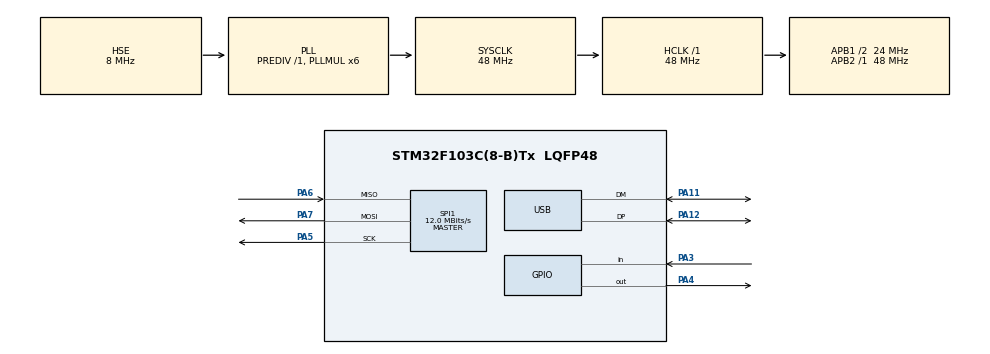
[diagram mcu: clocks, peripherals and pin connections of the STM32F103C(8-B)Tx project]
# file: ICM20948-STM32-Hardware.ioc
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Mcu.Family=STM32F1
Mcu.Name=STM32F103C(8-B)Tx
Mcu.Package=LQFP48
NVIC.PriorityGroup=NVIC_PRIORITYGROUP_4
NVIC.USB_LP_CAN1_RX0_IRQn=true\:0\:0\:false\:false\:true\:false\:true\:true
PA11.Mode=Device
PA11.Signal=USB_DM
PA12.Mode=Device
PA12.Signal=USB_DP
PA13.Mode=Serial_Wire
PA13.Signal=SYS_JTMS-SWDIO
PA14.Mode=Serial_Wire
PA14.Signal=SYS_JTCK-SWCLK
PA3.Signal=GPIO_Input
PA4.GPIO_Speed=GPIO_SPEED_FREQ_HIGH
PA4.PinState=GPIO_PIN_SET
PA4.Signal=GPIO_Output
PA5.Mode=Full_Duplex_Master
PA5.Signal=SPI1_SCK
PA6.Mode=Full_Duplex_Master
PA6.Signal=SPI1_MISO
PA7.Mode=Full_Duplex_Master
PA7.Signal=SPI1_MOSI
PD0-OSC_IN.Mode=HSE-External-Oscillator
PD0-OSC_IN.Signal=RCC_OSC_IN
PD1-OSC_OUT.Mode=HSE-External-Oscillator
PD1-OSC_OUT.Signal=RCC_OSC_OUT
ProjectManager.HeapSize=0x200
ProjectManager.StackSize=0x800
ProjectManager.TargetToolchain=CMake
RCC.AHBFreq_Value=48000000
RCC.APB1CLKDivider=RCC_HCLK_DIV2
RCC.APB1Freq_Value=24000000
RCC.APB1TimFreq_Value=48000000
RCC.APB2Freq_Value=48000000
RCC.APB2TimFreq_Value=48000000
RCC.EnbaleCSS=true
RCC.HCLKFreq_Value=48000000
RCC.PLLMUL=RCC_PLL_MUL6
RCC.PLLSourceVirtual=RCC_PLLSOURCE_HSE
RCC.SYSCLKFreq_VALUE=48000000
RCC.SYSCLKSource=RCC_SYSCLKSOURCE_PLLCLK
RCC.USBFreq_Value=48000000
SPI1.BaudRatePrescaler=SPI_BAUDRATEPRESCALER_4
SPI1.CLKPhase=SPI_PHASE_2EDGE
SPI1.CLKPolarity=SPI_POLARITY_HIGH
SPI1.CalculateBaudRate=12.0 MBits/s
SPI1.Direction=SPI_DIRECTION_2LINES
SPI1.Mode=SPI_MODE_MASTER
SPI1.VirtualType=VM_MASTER
USB_DEVICE.CLASS_NAME_FS=CDC
USB_DEVICE.VirtualMode=Cdc
USB_DEVICE.VirtualModeFS=Cdc_FS
VP_USB_DEVICE_VS_USB_DEVICE_CDC_FS.Mode=CDC_FS
board=custom

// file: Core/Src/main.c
/* USER CODE BEGIN Header */
/**
 ******************************************************************************
 * @file           : main.c
 * @brief          : Main program body
 ******************************************************************************
 * @attention
 *
 * Copyright (c) 2026 STMicroelectronics.
 * All rights reserved.
 *
 * This software is licensed under terms that can be found in the LICENSE file
 * in the root directory of this software component.
 * If no LICENSE file comes with this software, it is provided AS-IS.
 *
 ******************************************************************************
 */
/* USER CODE END Header */
#include "main.h"
#include "gpio.h"
#include "spi.h"
#include "usb_device.h"

/* USER CODE BEGIN Includes */
#include "DeviceCalibration.h"
#include "MahonyAHRS.h"
#include "icm20948_init.h"
#include "usbd_cdc_if.h"

/* USER CODE END Includes */

/* USER CODE BEGIN PTD */

typedef char *restrict cstr_ptr;
typedef const char *restrict ccstr_ptr;

typedef struct {
  float offset[3];
  float scale[3];
  uint32_t magic_num; // 用于判断 Flash 是否为空
} MagSaveData_t;

/* USER CODE END PTD */

/* USER CODE BEGIN PD */

// 强转
#define INT_PART(x) ((int)(x))
// 取绝对值 -> 减去整数部分 -> 乘100 -> 强转
#define FRAC_PART_100(x) ((int)((fabs(x) - (int)fabs(x)) * 100))

#define FLASH_SAVE_ADDR 0x0800F800 // STM32F103C8T6 最后一页 2KB 用于保存数据

/* USER CODE END PD */

/* USER CODE BEGIN PV */

Mahony_Handle_t mahonyFilter;
MagCalib_t magCalib;

float magOffset[3];
float magScale[3];

int16_t gyro_bias_x;
int16_t gyro_bias_y;
int16_t gyro_bias_z;

/* USER CODE END PV */

void SystemClock_Config(void);

/* USER CODE BEGIN 0 */

/**
 * @brief 保存校准数据到 Flash
 * @param offset 偏置数组
 * @param scale 比例数组
 * @author 18Fly (iphoneios@88.com)
 * @date 2026-02-03
 */
void Save_Calib_To_Flash(float offset[3], float scale[3]) {
  HAL_FLASH_Unlock();

  FLASH_EraseInitTypeDef EraseInitStruct;
  uint32_t PageError = 0;

  // 擦除一页
  EraseInitStruct.TypeErase = FLASH_TYPEERASE_PAGES;
  EraseInitStruct.PageAddress = FLASH_SAVE_ADDR;
  EraseInitStruct.NbPages = 1;

  if (HAL_FLASHEx_Erase(&EraseInitStruct, &PageError) != HAL_OK) {
    HAL_FLASH_Lock();
    return;
  }

  // 写入数据 (每次写入 32位 / 1个Word)
  MagSaveData_t data;
  for (int i = 0; i < 3; i++) {
    data.offset[i] = offset[i];
    data.scale[i] = scale[i];
  }
  data.magic_num = 0xDEADBEEF; // 标记位

  uint32_t *pData = (uint32_t *)&data;
  int numWords = sizeof(MagSaveData_t) / 4;

  for (int i = 0; i < numWords; i++) {
    if (HAL_FLASH_Program(FLASH_TYPEPROGRAM_WORD, FLASH_SAVE_ADDR + i * 4,
                          pData[i]) != HAL_OK) {
      break;
    }
  }
  HAL_FLASH_Lock(); // 上锁
}

/**
 * @brief 从 Flash 加载校准数据
 * @param offset 偏置数组
 * @param scale 比例数组
 * @author 18Fly (iphoneios@88.com)
 * @date 2026-02-03
 */
void Load_Calib_From_Flash(float offset[3], float scale[3]) {
  MagSaveData_t *pData = (MagSaveData_t *)FLASH_SAVE_ADDR;

  if (pData->magic_num == 0xDEADBEEF) {
    for (int i = 0; i < 3; i++) {
      offset[i] = pData->offset[i];
      scale[i] = pData->scale[i];
    }
    magCalib.is_calibrated = 1;
  } else {
    for (int i = 0; i < 3; i++) {
      offset[i] = 0.0f;
      scale[i] = 1.0f;
    }
  }
}

/**
 * @brief 上电执行陀螺仪静态校准
 * @author 18Fly (iphoneios@88.com)
 * @date 2026-02-03
 */
void Perform_Gyro_Calibration(void) {
  int32_t sum_gx = 0, sum_gy = 0, sum_gz = 0;
  uint8_t valueBuffer[24] = {0};

  const int sample_count = 1000;

  for (int i = 0; i < sample_count; i++) {
    while (!ICM20948_IsDataReady()) {
    };
    icm20948_read_raw_data((uint8_t *)valueBuffer);
    int16_t raw_gx = (int16_t)((valueBuffer[6] << 8) | valueBuffer[7]);
    int16_t raw_gy = (int16_t)((valueBuffer[8] << 8) | valueBuffer[9]);
    int16_t raw_gz = (int16_t)((valueBuffer[10] << 8) | valueBuffer[11]);

    // 累加陀螺仪数据
    sum_gx += raw_gx;
    sum_gy += raw_gy;
    sum_gz += raw_gz;
  }

  // 得到零偏
  gyro_bias_x = (int16_t)(sum_gx / sample_count);
  gyro_bias_y = (int16_t)(sum_gy / sample_count);
  gyro_bias_z = (int16_t)(sum_gz / sample_count);
}

/* USER CODE END 0 */

int main(void) {

  /* MCU
   * Configuration--------------------------------------------------------*/

  /* Reset of all peripherals, Initializes the Flash interface and the
   * Systick.
   */
  HAL_Init();

  /* Configure the system clock */
  SystemClock_Config();

  /* Initialize all configured peripherals */
  MX_GPIO_Init();
  MX_SPI1_Init();
  MX_USB_DEVICE_Init();
  /* USER CODE BEGIN 2 */
  HAL_Delay(5000);

  // uint8_t strBuffer[128] = {0};
  uint8_t valueBuffer[24] = {0};
  uint8_t data_buffer[16];
  uint8_t strBuffer[128] = {0};
  // uint8_t print_counter = 0;

  icm20948_initialize();
  // icm20948_fifo_enable();

  Mag_Calib_Init(&magCalib);
  Mahony_Init(&mahonyFilter, DEFAULT_SAMPLE_FREQ);

  Load_Calib_From_Flash(magOffset, magScale);
  CDC_Transmit_FS((uint8_t *)"硬/软铁校准数据加载中...\n", 36);
  sprintf((char *)strBuffer,
          "校准数据加载完毕！\n"
          "偏置: [%d.%02d, %d.%02d, %d.%02d]\n"
          "比例: [%d.%02d, %d.%02d, %d.%02d]\n",

          // 偏置 X
          INT_PART(magOffset[0]), FRAC_PART_100(magOffset[0]),
          // 偏置 Y
          INT_PART(magOffset[1]), FRAC_PART_100(magOffset[1]),
          // 偏置 Z
          INT_PART(magOffset[2]), FRAC_PART_100(magOffset[2]),

          // 比例 X
          INT_PART(magScale[0]), FRAC_PART_100(magScale[0]),
          // 比例 Y
          INT_PART(magScale[1]), FRAC_PART_100(magScale[1]),
          // 比例 Z
          INT_PART(magScale[2]), FRAC_PART_100(magScale[2]));

  CDC_Transmit_FS(strBuffer, strlen((char *)strBuffer));
  HAL_Delay(100);
  CDC_Transmit_FS((uint8_t *)"开始陀螺仪上电校准，请保持静止...\n", 50);
  Perform_Gyro_Calibration();
  CDC_Transmit_FS((uint8_t *)"陀螺仪校准完成！\n", 26);
  HAL_Delay(1000);
  /* USER CODE END 2 */

  /* Infinite loop */
  /* USER CODE BEGIN WHILE */
  uint32_t last_tick = HAL_GetTick();
  while (1) {
    if (!ICM20948_IsDataReady()) {
      continue;
    }
    icm20948_read_raw_data(valueBuffer);
    int16_t raw_ax = (int16_t)((valueBuffer[0] << 8) | valueBuffer[1]);
    int16_t raw_ay = (int16_t)((valueBuffer[2] << 8) | valueBuffer[3]);
    int16_t raw_az = (int16_t)((valueBuffer[4] << 8) | valueBuffer[5]);
    int16_t raw_gx = (int16_t)((valueBuffer[6] << 8) | valueBuffer[7]);
    int16_t raw_gy = (int16_t)((valueBuffer[8] << 8) | valueBuffer[9]);
    int16_t raw_gz = (int16_t)((valueBuffer[10] << 8) | valueBuffer[11]);
    int16_t raw_mx = (int16_t)((valueBuffer[16] << 8) | valueBuffer[15]);
    int16_t raw_my = (int16_t)((valueBuffer[18] << 8) | valueBuffer[17]);
    int16_t raw_mz = (int16_t)((valueBuffer[20] << 8) | valueBuffer[19]);

    if (HAL_GPIO_ReadPin(GPIOA, GPIO_PIN_3) == GPIO_PIN_RESET &&
        !magCalib.is_calibrated) {

      Mag_Calib_Update(&magCalib, (float)raw_mx, (float)raw_my, (float)raw_mz);
      sprintf((char *)strBuffer, "校准中...样本数: %d\n",
              magCalib.sample_count);
      CDC_Transmit_FS(strBuffer, strlen((char *)strBuffer));
      HAL_Delay(1);

    } else if (!magCalib.is_calibrated) {

      Mag_Calib_Calc(&magCalib);
      magOffset[0] = magCalib.offset[0];
      magOffset[1] = magCalib.offset[1];
      magOffset[2] = magCalib.offset[2];
      magScale[0] = magCalib.scale[0];
      magScale[1] = magCalib.scale[1];
      magScale[2] = magCalib.scale[2];
      Save_Calib_To_Flash(magOffset, magScale);
      CDC_Transmit_FS((uint8_t *)"保存校准数据到内部Flash！\n", 37);
      HAL_Delay(500);

    } else {

      uint32_t current_tick = HAL_GetTick();
      if (current_tick == last_tick) {
        // 时间还没过 1ms，不要运行积分算法，否则会引入巨大误差
        HAL_Delay(0);
        continue;
      }

      float dt = (current_tick - last_tick) / 1000.0f;
      last_tick = current_tick;
      mahonyFilter.invSampleFreq = dt;

      // 去除陀螺仪零偏
      raw_gx -= gyro_bias_x;
      raw_gy -= gyro_bias_y;
      raw_gz -= gyro_bias_z;

      // 陀螺仪范围 ±2000dps，灵敏度系数为 16.4 LSB/dps
      // Mahony 算法需要弧度制 (rad/s)
      float gx_rad = ((float)raw_gx / 16.4f) * (3.14159f / 180.0f);
      float gy_rad = ((float)raw_gy / 16.4f) * (3.14159f / 180.0f);
      float gz_rad = ((float)raw_gz / 16.4f) * (3.14159f / 180.0f);

      // 磁力计硬铁 + 软铁校准
      float mx_calib = (raw_mx - magOffset[0]) * magScale[0];
      float my_calib = (raw_my - magOffset[1]) * magScale[1];
      float mz_calib = (raw_mz - magOffset[2]) * magScale[2];

      float align_mx = mx_calib;
      float align_my = -my_calib;
      float align_mz = -mz_calib;

      Mahony_Update9DOF(&mahonyFilter, gx_rad, gy_rad, gz_rad, raw_ax, raw_ay,
                        raw_az, align_mx, align_my, align_mz);

      Mahony_ComputeEuler(&mahonyFilter);

      // 如果 raw_mx全是0，说明磁力计压根没读到，这是漂移的根本原因
      // 取消注释检查磁力计数据
      // sprintf((char *)strBuffer, "Mag Raw: %d, %d, %d\n", raw_mx, raw_my,
      //         raw_mz);
      // CDC_Transmit_FS(strBuffer, strlen((char *)strBuffer));

      *(float *)(data_buffer + 0) = mahonyFilter.roll;
      *(float *)(data_buffer + 4) = mahonyFilter.pitch;
      *(float *)(data_buffer + 8) = mahonyFilter.yaw;
      data_buffer[12] = 0x00;
      data_buffer[13] = 0x00;
      data_buffer[14] = 0x80;
      data_buffer[15] = 0x7f;
      CDC_Transmit_FS(data_buffer, 16);
    }
    /* USER CODE END WHILE */

  }
}

void SystemClock_Config(void) {
  RCC_OscInitTypeDef RCC_OscInitStruct = {0};
  RCC_ClkInitTypeDef RCC_ClkInitStruct = {0};
  RCC_PeriphCLKInitTypeDef PeriphClkInit = {0};

  /** Initializes the RCC Oscillators according to the specified parameters
   * in the RCC_OscInitTypeDef structure.
   */
  RCC_OscInitStruct.OscillatorType = RCC_OSCILLATORTYPE_HSE;
  RCC_OscInitStruct.HSEState = RCC_HSE_ON;
  RCC_OscInitStruct.HSEPredivValue = RCC_HSE_PREDIV_DIV1;
  RCC_OscInitStruct.HSIState = RCC_HSI_ON;
  RCC_OscInitStruct.PLL.PLLState = RCC_PLL_ON;
  RCC_OscInitStruct.PLL.PLLSource = RCC_PLLSOURCE_HSE;
  RCC_OscInitStruct.PLL.PLLMUL = RCC_PLL_MUL6;
  if (HAL_RCC_OscConfig(&RCC_OscInitStruct) != HAL_OK) {
    Error_Handler();
  }

  /** Initializes the CPU, AHB and APB buses clocks
   */
  RCC_ClkInitStruct.ClockType = RCC_CLOCKTYPE_HCLK | RCC_CLOCKTYPE_SYSCLK |
                                RCC_CLOCKTYPE_PCLK1 | RCC_CLOCKTYPE_PCLK2;
  RCC_ClkInitStruct.SYSCLKSource = RCC_SYSCLKSOURCE_PLLCLK;
  RCC_ClkInitStruct.AHBCLKDivider = RCC_SYSCLK_DIV1;
  RCC_ClkInitStruct.APB1CLKDivider = RCC_HCLK_DIV2;
  RCC_ClkInitStruct.APB2CLKDivider = RCC_HCLK_DIV1;

  if (HAL_RCC_ClockConfig(&RCC_ClkInitStruct, FLASH_LATENCY_1) != HAL_OK) {
    Error_Handler();
  }
  PeriphClkInit.PeriphClockSelection = RCC_PERIPHCLK_USB;
  PeriphClkInit.UsbClockSelection = RCC_USBCLKSOURCE_PLL;
  if (HAL_RCCEx_PeriphCLKConfig(&PeriphClkInit) != HAL_OK) {
    Error_Handler();
  }

  /** Enables the Clock Security System
   */
  HAL_RCC_EnableCSS();
}

void Error_Handler(void) {
  /* USER CODE BEGIN Error_Handler_Debug */
  /* User can add his own implementation to report the HAL error return state
   */
  __disable_irq();
  while (1) {
    CDC_Transmit_FS(
        (uint8_t *)"进入错误处理！\n",
        23); // 这里的话建议弄个枚举类型，从'A'的ASCII值开始，
             // 形参传过来作为字符直接打印，不需要再转字符串了
             // 我懒得弄了(*^_^*)😴，如果用不了硬件调试的可以这样弄一下
    HAL_Delay(1000);
  }
  /* USER CODE END Error_Handler_Debug */
}
#ifdef USE_FULL_ASSERT
/**
 * @brief  Reports the name of the source file and the source line number
 *         where the assert_param error has occurred.
 * @param  file: pointer to the source file name
 * @param  line: assert_param error line source number
 * @retval None
 */
void assert_failed(uint8_t *file, uint32_t line) {
  /* USER CODE BEGIN 6 */
  /* User can add his own implementation to report the file name and line
     number, ex: printf("Wrong parameters value: file %s on line %d\r\n",
     file, line) */
  /* USER CODE END 6 */
}
#endif /* USE_FULL_ASSERT */
